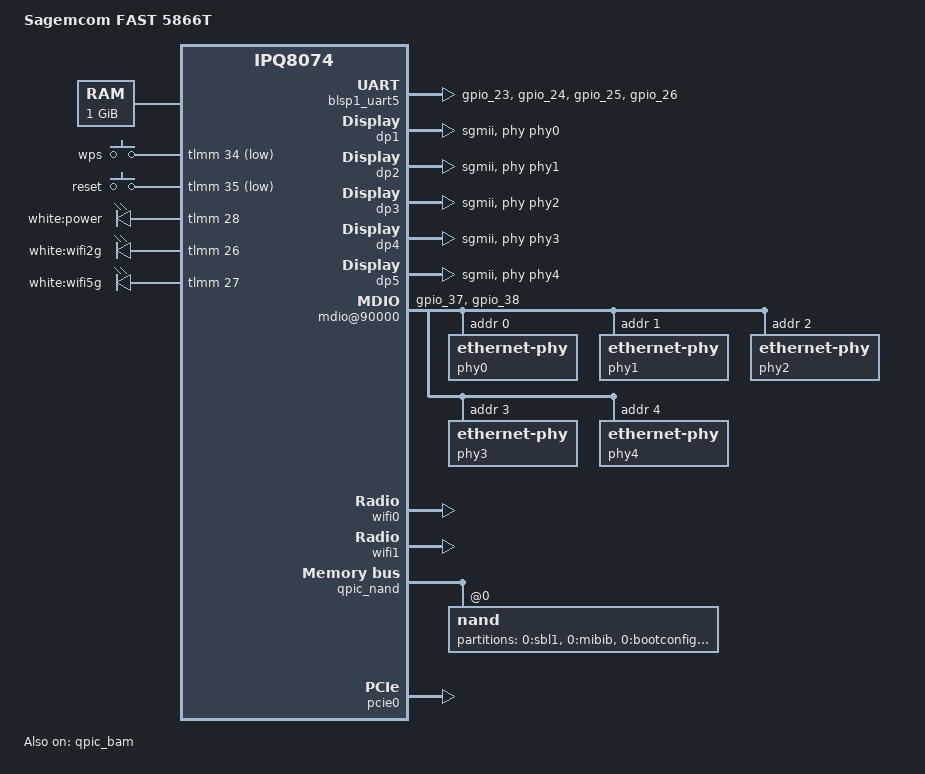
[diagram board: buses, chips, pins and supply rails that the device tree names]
/dts-v1/;

#include "ipq8074.dtsi"
#include "ipq8074-hk-cpu.dtsi"

/ {
	model = "Sagemcom FAST 5866T";
	compatible = "sagemcom,fast-5866t", "qcom,ipq8074";
	qcom,msm-id = <0x143 0x0>, <0x186 0x0>;
	qcom,board-id = <0x08 0x0>;

	aliases {
		serial0 = &blsp1_uart5;
		ethernet0 = "/soc/dp1";
		ethernet1 = "/soc/dp2";
		ethernet2 = "/soc/dp3";
		ethernet3 = "/soc/dp4";
		ethernet4 = "/soc/dp5";
		led-boot = &power_led;
		led-failsafe = &power_led;
		led-running = &power_led;
		led-upgrade = &power_led;
	};

	chosen {
		bootargs-append = " root=/dev/ubiblock0_1 swiotlb=1 coherent_pool=2M";
		stdout-path = "serial0:115200n8";
	};

	memory@40000000 {
		device_type = "memory";
		reg = <0x0 0x40000000 0x0 0x40000000>;
	};

	reserved-memory {
		/delete-node/ wcnss@4b000000;
		/delete-node/ q6_etr_dump@4e700000;

		qcn9000_pcie0: qcn9000@4b000000 {
			no-map;
			reg = <0x0 0x4b000000 0x0 0x01d00000>;
		};
	};

	soc {
		pinctrl@1000000 {
			button_pins: button_pins {
				wps_button {
					pins = "gpio_34";
					function = "gpio";
					drive-strength = <8>;
					bias-pull-up;
				};

				reset_button {
					pins = "gpio_35";
					function = "gpio";
					drive-strength = <8>;
					bias-pull-up;
				};
			};

			led_pins: led_pins {
				wifi2g {
					pins = "gpio_26";
					function = "gpio";
					drive-strength = <8>;
					bias-pull-down;
				};

				wifi5g {
					pins = "gpio_27";
					function = "gpio";
					drive-strength = <8>;
					bias-pull-down;
				};

				power_led {
					pins = "gpio_28";
					function = "gpio";
					drive-strength = <8>;
					bias-pull-down;
				};
			};
		};

		blsp1_uart5: serial@78b3000 {
			status = "okay";
			pinctrl-0 = <&blsp1_uart5_pins>;
			pinctrl-names = "default";
		};

		dp1 {
			device_type = "network";
			compatible = "qcom,nss-dp";
			reg = <0x3a001000 0x200>;
			qcom,mactype = <0>;
			qcom,id = <1>;
			phy-mode = "sgmii";
			phy-handle = <&phy0>;
		};

		dp2 {
			device_type = "network";
			compatible = "qcom,nss-dp";
			reg = <0x3a001200 0x200>;
			qcom,mactype = <0>;
			qcom,id = <2>;
			phy-mode = "sgmii";
			phy-handle = <&phy1>;
		};

		dp3 {
			device_type = "network";
			compatible = "qcom,nss-dp";
			reg = <0x3a001400 0x200>;
			qcom,mactype = <0>;
			qcom,id = <3>;
			phy-mode = "sgmii";
			phy-handle = <&phy2>;
		};

		dp4 {
			device_type = "network";
			compatible = "qcom,nss-dp";
			reg = <0x3a001600 0x200>;
			qcom,mactype = <0>;
			qcom,id = <4>;
			phy-mode = "sgmii";
			phy-handle = <&phy3>;
		};

		dp5 {
			device_type = "network";
			compatible = "qcom,nss-dp";
			reg = <0x3a001800 0x200>;
			qcom,mactype = <0>;
			qcom,id = <5>;
			phy-mode = "sgmii";
			phy-handle = <&phy4>;
		};

		mdio@90000 {
			status = "okay";
			pinctrl-0 = <&mdio_pins>;
			pinctrl-names = "default";
			phy-reset-gpio = <&tlmm 37 1>;

			phy0: ethernet-phy@0 {
				reg = <0>;
			};

			phy1: ethernet-phy@1 {
				reg = <1>;
			};

			phy2: ethernet-phy@2 {
				reg = <2>;
			};

			phy3: ethernet-phy@3 {
				reg = <3>;
			};

			phy4: ethernet-phy@4 {
				reg = <4>;
			};
		};

		ess-switch@3a000000 {
			switch_cpu_bmp = <0x1>;
			switch_lan_bmp = <0x1e>;
			switch_wan_bmp = <0x20>;
			switch_mac_mode = <0x0>;
			switch_mac_mode1 = <0xff>;
			switch_mac_mode2 = <0xff>;
			qcom,port_phyinfo {
				port@0 {
					port_id = <1>;
					phy_address = <0>;
				};
				port@1 {
					port_id = <2>;
					phy_address = <1>;
				};
				port@2 {
					port_id = <3>;
					phy_address = <2>;
				};
				port@3 {
					port_id = <4>;
					phy_address = <3>;
				};
				port@4 {
					port_id = <5>;
					phy_address = <4>;
				};
			};
		};

		wifi0: wifi@a000000 {
			status = "okay";
			qcom,ath11k-calibration-variant = "Sagemcom-FAST-5866T";
			qcom,ath11k-fw-memory-mode = <1>;
			ieee80211-freq-limit = <2401000 2482000>;
			qcom,rproc = <&q6v5_wcss>;
			qcom,bdf-addr = <0x4B000000>;
		};

		wifi1: wifi@a800000 {
			status = "okay";
			qcom,ath11k-calibration-variant = "Sagemcom-FAST-5866T";
			qcom,ath11k-fw-memory-mode = <1>;
			ieee80211-freq-limit = <5170000 5895000>;
			qcom,rproc = <&q6v5_wcss>;
			qcom,bdf-addr = <0x4B000000>;
		};
	};

	gpio-keys {
		compatible = "gpio-keys";
		pinctrl-0 = <&button_pins>;
		pinctrl-names = "default";

		wps {
			label = "wps";
			gpios = <&tlmm 34 GPIO_ACTIVE_LOW>;
			linux,code = <KEY_WPS_BUTTON>;
		};

		reset {
			label = "reset";
			gpios = <&tlmm 35 GPIO_ACTIVE_LOW>;
			linux,code = <KEY_RESTART>;
		};
	};

	leds {
		compatible = "gpio-leds";
		pinctrl-0 = <&led_pins>;
		pinctrl-names = "default";

		power_led: power {
			label = "white:power";
			gpios = <&tlmm 28 GPIO_ACTIVE_HIGH>;
			default-state = "on";
		};

		wifi2g {
			label = "white:wifi2g";
			gpios = <&tlmm 26 GPIO_ACTIVE_HIGH>;
			linux,default-trigger = "phy0tpt";
		};

		wifi5g {
			label = "white:wifi5g";
			gpios = <&tlmm 27 GPIO_ACTIVE_HIGH>;
			linux,default-trigger = "phy1tpt";
		};
	};

	qcom,test@0 {
		status = "disabled";
	};

	qcom_cnss_qca8074: qcom_cnss_qca8074@0 {
		status = "disabled";
	};
};

&tlmm {
	mdio_pins: mdio_pinmux {
		mux_1 {
			pins = "gpio_37";
			function = "mdio";
			drive-strength = <8>;
			bias-pull-up;
		};

		mux_2 {
			pins = "gpio_38";
			function = "mdc";
			drive-strength = <8>;
			bias-pull-up;
		};
	};

	blsp1_uart5_pins: uart5_pinmux {
		mux {
			pins = "gpio_23", "gpio_24", "gpio_25", "gpio_26";
			function = "blsp5_uart";
			drive-strength = <8>;
			bias-disable;
		};
	};
};

&blsp1_uart5 {
	status = "okay";
};

&qpic_bam {
	status = "okay";
};

&qpic_nand {
	status = "okay";

	nand@0 {
		reg = <0>;
		nand-ecc-strength = <4>;
		nand-ecc-step-size = <512>;
		nand-bus-width = <8>;

		partitions {
			compatible = "fixed-partitions";
			#address-cells = <1>;
			#size-cells = <1>;

			partition@0 {
				label = "0:sbl1";
				reg = <0x0 0x100000>;
				read-only;
			};

			partition@100000 {
				label = "0:mibib";
				reg = <0x100000 0x100000>;
				read-only;
			};

			partition@200000 {
				label = "0:bootconfig";
				reg = <0x200000 0x80000>;
				read-only;
			};

			partition@280000 {
				label = "0:bootconfig1";
				reg = <0x280000 0x80000>;
				read-only;
			};

			partition@300000 {
				label = "0:qsee";
				reg = <0x300000 0x300000>;
				read-only;
			};

			partition@600000 {
				label = "0:qsee_1";
				reg = <0x600000 0x300000>;
				read-only;
			};

			partition@900000 {
				label = "0:devcfg";
				reg = <0x900000 0x80000>;
				read-only;
			};

			partition@980000 {
				label = "0:devcfg_1";
				reg = <0x980000 0x80000>;
				read-only;
			};

			partition@a00000 {
				label = "0:apdp";
				reg = <0xa00000 0x80000>;
				read-only;
			};

			partition@a80000 {
				label = "0:apdp_1";
				reg = <0xa80000 0x80000>;
				read-only;
			};

			partition@b00000 {
				label = "0:rpm";
				reg = <0xb00000 0x80000>;
				read-only;
			};

			partition@b80000 {
				label = "0:rpm_1";
				reg = <0xb80000 0x80000>;
				read-only;
			};

			partition@c00000 {
				label = "0:cdt";
				reg = <0xc00000 0x80000>;
				read-only;
			};

			partition@c80000 {
				label = "0:cdt_1";
				reg = <0xc80000 0x80000>;
				read-only;
			};

			partition@d00000 {
				label = "0:appsblenv";
				reg = <0xd00000 0x80000>;
			};

			partition@d80000 {
				label = "0:appsbl";
				reg = <0xd80000 0x100000>;
				read-only;
			};

			partition@e80000 {
				label = "0:appsbl_1";
				reg = <0xe80000 0x100000>;
				read-only;
			};

			partition@f80000 {
				label = "0:art";
				reg = <0xf80000 0x80000>;
				read-only;
			};

			partition@1000000 {
				label = "0:ethphyfw";
				reg = <0x1000000 0x80000>;
				read-only;
			};

			partition@1080000 {
				label = "rootfs";
				reg = <0x1080000 0x6f80000>;
			};
		};
	};
};

&pcie0 {
	status = "okay";
	perst-gpio = <&tlmm 58 1>;
	max-payload-size = <1>;
	bus-range = <0x00 0xff>;
};

&pcie1 {
	status = "disabled";
};

&wifi0 {
	status = "okay";
	qcom,ath11k-calibration-variant = "Sagemcom-FAST-5866T";
	qcom,ath11k-fw-memory-mode = <1>;
	ieee80211-freq-limit = <2401000 2482000>;
};

&wifi1 {
	status = "okay";
	qcom,ath11k-calibration-variant = "Sagemcom-FAST-5866T";
	qcom,ath11k-fw-memory-mode = <1>;
	ieee80211-freq-limit = <5170000 5895000>;
};
